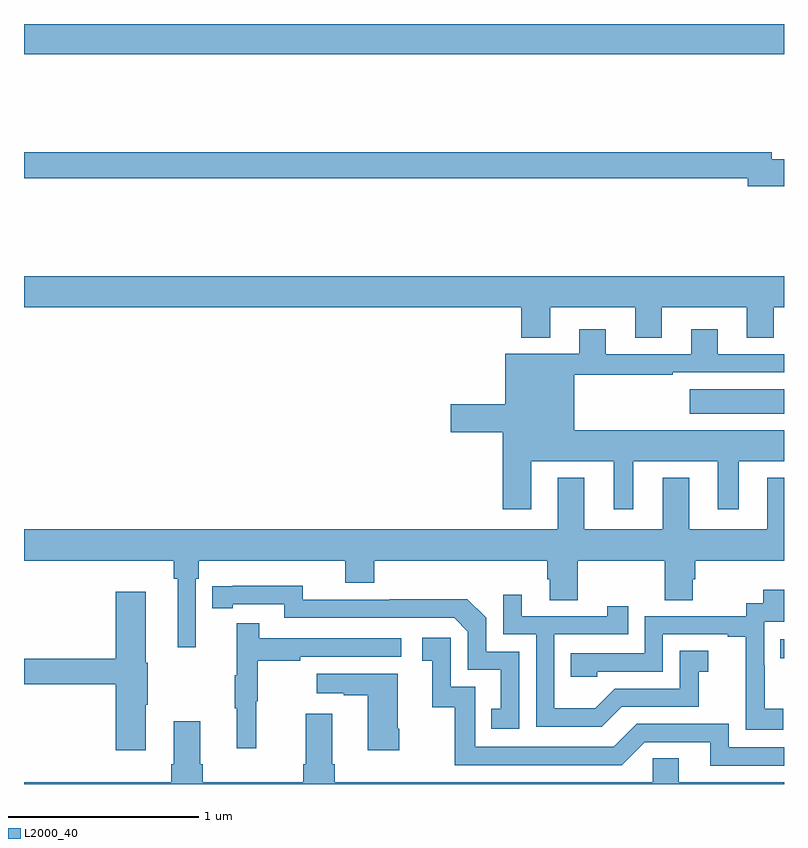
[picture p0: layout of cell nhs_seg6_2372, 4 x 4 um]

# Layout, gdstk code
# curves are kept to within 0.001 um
import gdstk
lib = gdstk.Library(unit=1e-6, precision=1e-09)
def R(c, l, rs):  # rectangles x0, y0, x1, y1
    for r in rs: c.add(gdstk.rectangle(r[:2], r[2:], *l))
def P(c, l, *ps):  # polygons
    for p in ps: c.add(gdstk.Polygon(p, *l))
L2000_40 = (2000, 40)

nhs_seg6_2372 = lib.new_cell('nhs_seg6_2372')
R(nhs_seg6_2372, L2000_40, [(256.981,940.162,257,940.263), (256.503,941.45,257,941.578), (253,943.34,257,943.5)])
P(nhs_seg6_2372, L2000_40, [(257,942.788),(256.936,942.788),(256.936,942.824),(253,942.824),(253,942.688),(256.808,942.688),(256.808,942.646),(257,942.646)],
  [(256.357,942.008),(256.805,942.008),(256.805,941.848),(256.945,941.848),(256.945,942.008),(257,942.008),(257,942.172),(253,942.172),(253,942.008),(255.617,942.008),(255.617,941.849),(255.769,941.849),(255.769,942.008),(256.217,942.008),(256.217,941.848),(256.357,941.848)],
  [(255.67,941.198),(256.103,941.198),(256.103,940.947),(256.207,940.947),(256.207,941.198),(256.652,941.198),(256.652,940.947),(256.762,940.947),(256.762,941.198),(257,941.198),(257,941.362),(255.895,941.362),(255.895,941.655),(256.415,941.655),(256.415,941.667),(257,941.667),(257,941.763),(256.651,941.763),(256.651,941.893),(256.511,941.893),(256.511,941.763),(256.063,941.763),(256.063,941.893),(255.923,941.893),(255.923,941.764),(255.533,941.764),(255.533,941.498),(255.246,941.498),(255.246,941.351),(255.521,941.351),(255.521,940.947),(255.67,940.947)],
  [(253.905,940.58),(253.919,940.58),(253.919,940.676),(254.69,940.676),(254.69,940.559),(254.843,940.559),(254.843,940.676),(255.755,940.676),(255.755,940.578),(255.767,940.578),(255.767,940.468),(255.915,940.468),(255.915,940.676),(256.372,940.676),(256.372,940.468),(256.519,940.468),(256.519,940.578),(256.532,940.578),(256.532,940.676),(257,940.676),(257,941.113),(256.913,941.113),(256.913,940.84),(256.501,940.84),(256.501,941.113),(256.361,941.113),(256.361,940.84),(255.949,940.84),(255.949,941.113),(255.809,941.113),(255.809,940.84),(253,940.84),(253,940.676),(253.789,940.676),(253.789,940.58),(253.808,940.58),(253.808,940.221),(253.905,940.221)],
  [(255.606,940.197),(255.432,940.197),(255.432,940.374),(255.334,940.472),(254.926,940.472),(254.926,940.47),(254.466,940.47),(254.466,940.543),(253.99,940.542),(253.99,940.426),(254.098,940.426),(254.098,940.446),(254.37,940.446),(254.37,940.374),(255.264,940.374),(255.336,940.302),(255.336,940.101),(255.509,940.101),(255.509,939.897),(255.46,939.897),(255.46,939.792),(255.606,939.792)],
  [(256.996,939.895),(256.898,939.895),(256.898,940.124),(256.896,940.124),(256.896,940.353),(257,940.353),(257,940.522),(256.892,940.522),(256.892,940.452),(256.8,940.452),(256.8,940.383),(256.266,940.383),(256.266,940.188),(255.877,940.188),(255.877,940.065),(256.017,940.065),(256.017,940.092),(256.362,940.092),(256.362,940.287),(256.703,940.287),(256.703,940.275),(256.799,940.275),(256.799,939.991),(256.798,939.991),(256.798,939.785),(256.996,939.785)],
  [(253.642,939.916),(253.65,939.916),(253.65,940.137),(253.642,940.137),(253.642,940.513),(253.484,940.513),(253.484,940.16),(253,940.16),(253,940.024),(253.484,940.024),(253.484,939.678),(253.642,939.678)],
  [(256.147,939.906),(256.551,939.906),(256.551,940.091),(256.6,940.091),(256.6,940.201),(256.452,940.201),(256.452,940.002),(256.11,940.002),(256.006,939.898),(255.792,939.898),(255.792,940.287),(256.181,940.287),(256.181,940.435),(256.07,940.435),(256.07,940.383),(255.619,940.383),(255.619,940.495),(255.522,940.495),(255.522,940.287),(255.696,940.287),(255.696,939.801),(256.042,939.801)],
  [(254.222,939.936),(254.23,939.936),(254.23,940.15),(254.453,940.15),(254.453,940.17),(254.986,940.17),(254.986,940.266),(254.237,940.266),(254.237,940.345),(254.12,940.345),(254.12,940.073),(254.109,940.073),(254.109,939.899),(254.12,939.899),(254.12,939.687),(254.222,939.687)],
  [(257,939.693),(256.71,939.693),(256.71,939.816),(256.224,939.816),(256.104,939.696),(255.375,939.696),(255.375,940.011),(255.246,940.011),(255.246,940.27),(255.096,940.27),(255.096,940.149),(255.149,940.149),(255.149,939.903),(255.267,939.903),(255.267,939.6),(256.146,939.6),(256.266,939.72),(256.613,939.72),(256.613,939.597),(257,939.597)],
  [(254.976,939.79),(254.968,939.79),(254.968,940.081),(254.541,940.081),(254.541,939.977),(254.684,939.977),(254.684,939.967),(254.81,939.967),(254.81,939.678),(254.976,939.678)],
  [(257,939.508),(256.447,939.508),(256.447,939.635),(256.308,939.635),(256.308,939.508),(254.636,939.508),(254.636,939.604),(254.623,939.604),(254.623,939.871),(254.483,939.871),(254.483,939.604),(254.471,939.604),(254.471,939.508),(253.94,939.508),(253.94,939.604),(253.927,939.604),(253.927,939.829),(253.787,939.829),(253.787,939.604),(253.775,939.604),(253.775,939.508),(253,939.508),(253,939.5),(257,939.5)])

lib.write_gds('nhs_seg6_2372.gds')
